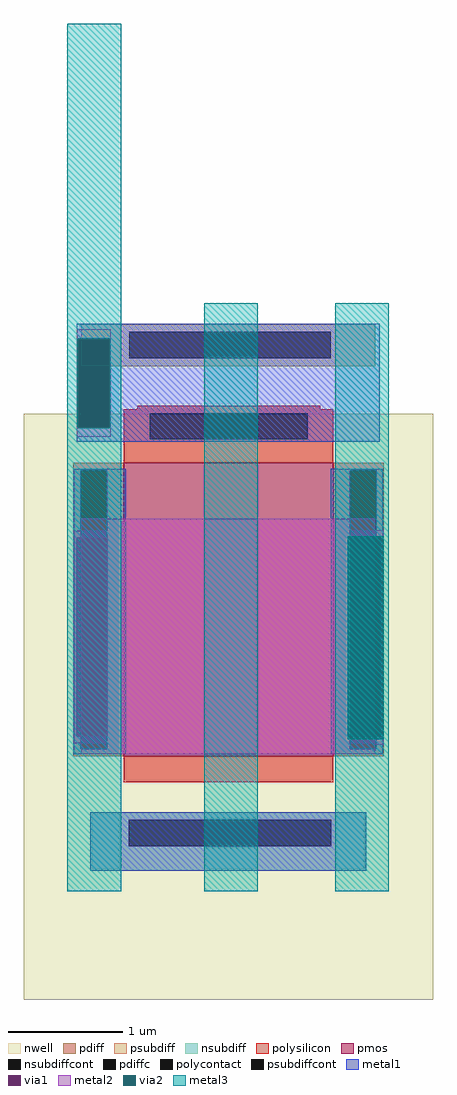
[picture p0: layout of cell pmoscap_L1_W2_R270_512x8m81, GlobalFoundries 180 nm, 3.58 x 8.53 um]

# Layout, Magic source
magic
tech gf180mcuD
magscale 1 10
<< nwell >>
rect -78 -189 637 835
<< pmos >>
rect 96 236 463 749
<< pdiff >>
rect 8 736 96 749
rect 8 249 21 736
rect 67 249 96 736
rect 8 236 96 249
rect 463 736 551 749
rect 463 249 492 736
rect 538 249 551 736
rect 463 236 551 249
<< pdiffc >>
rect 21 249 67 736
rect 492 249 538 736
<< psubdiff >>
rect 22 918 536 991
<< nsubdiff >>
rect 38 36 520 138
<< polysilicon >>
rect 96 749 463 843
rect 96 191 463 236
<< metal1 >>
rect 14 966 544 992
rect 14 810 16 966
rect 72 810 544 966
rect 14 786 544 810
rect 9 736 100 739
rect 9 249 21 736
rect 67 249 100 736
rect 9 240 100 249
rect 458 736 549 739
rect 458 249 492 736
rect 538 249 549 736
rect 458 240 549 249
rect 38 36 520 138
<< via1 >>
rect 16 810 72 966
<< metal2 >>
rect 14 966 74 983
rect 14 810 16 966
rect 72 810 74 966
rect 14 795 74 810
rect 22 240 536 651
<< via2 >>
rect 16 810 72 966
<< metal3 >>
rect -2 966 92 1517
rect -2 810 16 966
rect 72 810 92 966
rect -2 0 92 810
rect 237 0 331 1028
rect 466 0 560 1028
use M1_NACTIVE_01_R270_512x8m81  M1_NACTIVE_01_R270_512x8m81_0
transform 1 0 282 0 1 102
box -190 -36 190 36
use M1_PACTIVE_R270_512x8m81  M1_PACTIVE_R270_512x8m81_0
transform 1 0 282 0 1 955
box -189 -36 189 36
use M1_POLY2_01_R270_512x8m81  M1_POLY2_01_R270_512x8m81_0
transform 1 0 280 0 1 812
box -160 -36 160 37
use M2_M1$04_R270_512x8m81  M2_M1$04_R270_512x8m81_0
transform 1 0 41 0 1 445
box -31 -186 31 185
use M2_M1$04_R270_512x8m81  M2_M1$04_R270_512x8m81_1
transform 1 0 519 0 1 445
box -31 -186 31 185
use M3_M2$01_R270_512x8m81  M3_M2$01_R270_512x8m81_0
transform 1 0 519 0 1 445
box -31 -189 32 186
<< end >>

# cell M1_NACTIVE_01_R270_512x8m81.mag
magic
tech gf180mcuD
magscale 1 10
<< nsubdiff >>
rect -190 23 190 36
rect -190 -23 -177 23
rect 177 -23 190 23
rect -190 -36 190 -23
<< nsubdiffcont >>
rect -177 -23 177 23
<< metal1 >>
rect -188 23 188 27
rect -188 -23 -177 23
rect 177 -23 188 23
rect -188 -27 188 -23
<< end >>

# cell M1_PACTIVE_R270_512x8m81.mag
magic
tech gf180mcuD
magscale 1 10
<< psubdiff >>
rect -189 23 189 36
rect -189 -23 -176 23
rect 176 -23 189 23
rect -189 -36 189 -23
<< psubdiffcont >>
rect -176 -23 176 23
<< metal1 >>
rect -187 23 187 27
rect -187 -23 -176 23
rect 176 -23 187 23
rect -187 -27 187 -23
<< end >>

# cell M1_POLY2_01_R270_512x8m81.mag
magic
tech gf180mcuD
magscale 1 10
<< polysilicon >>
rect -160 24 160 37
rect -160 -22 -138 24
rect 138 -22 160 24
rect -160 -36 160 -22
<< polycontact >>
rect -138 -22 138 24
<< metal1 >>
rect -149 24 149 27
rect -149 -22 -138 24
rect 138 -22 149 24
rect -149 -26 149 -22
<< end >>

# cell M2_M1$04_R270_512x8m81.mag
magic
tech gf180mcuD
magscale 1 10
<< metal1 >>
rect -31 173 31 185
rect -31 -174 -27 173
rect 27 -174 31 173
rect -31 -186 31 -174
<< via1 >>
rect -27 -174 27 173
<< metal2 >>
rect -31 173 31 185
rect -31 -174 -27 173
rect 27 -174 31 173
rect -31 -186 31 -174
<< end >>

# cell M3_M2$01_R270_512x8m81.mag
magic
tech gf180mcuD
magscale 1 10
<< metal2 >>
rect -31 176 32 186
rect -31 -189 32 -179
<< via2 >>
rect -31 -179 32 176
<< metal3 >>
rect -31 176 32 186
rect -31 -189 32 -179
<< end >>
